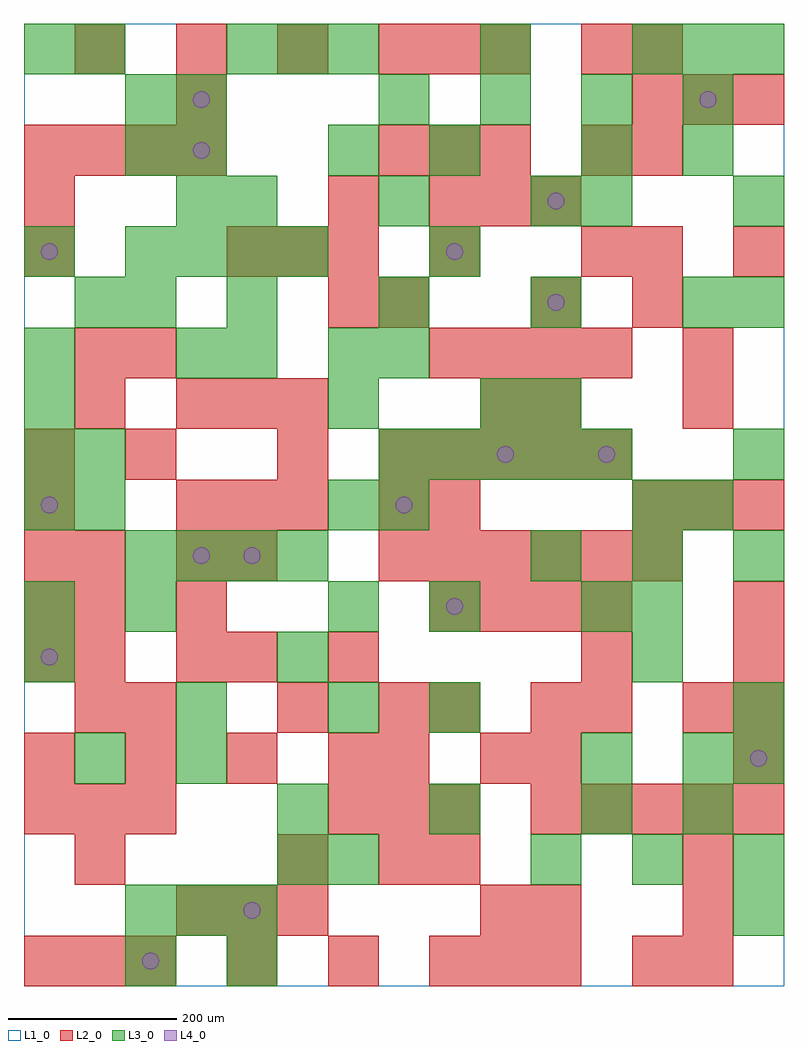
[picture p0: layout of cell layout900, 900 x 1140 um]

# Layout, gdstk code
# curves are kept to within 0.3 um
import gdstk
lib = gdstk.Library(unit=1e-6, precision=1e-09)
def R(c, l, rs):  # rectangles x0, y0, x1, y1
    for r in rs: c.add(gdstk.rectangle(r[:2], r[2:], *l))
def A(c, l, x, y, w, h, nx, ny, dx, dy):  # array of equal rectangles
    R(c, l, [(x+i*dx, y+j*dy, x+i*dx+w, y+j*dy+h) for i in range(nx) for j in range(ny)])
def P(c, l, *ps):  # polygons
    for p in ps: c.add(gdstk.Polygon(p, *l))
L1_0 = (1, 0)
L2_0 = (2, 0)
L3_0 = (3, 0)
L4_0 = (4, 0)

layout900 = lib.new_cell('layout900')
R(layout900, L1_0, [(0,0,900,1140)])
A(layout900, L2_0, 0, 0, 60, 60, 3, 2, 60, 180)
A(layout900, L2_0, 240, 0, 60, 60, 3, 1, 120, 0)
A(layout900, L2_0, 780, 0, 60, 60, 1, 3, 0, 60)
A(layout900, L2_0, 180, 60, 60, 60, 3, 2, 60, 480)
A(layout900, L2_0, 360, 180, 60, 60, 3, 1, 60, 0)
A(layout900, L2_0, 600, 180, 60, 60, 5, 1, 60, 0)
A(layout900, L2_0, 0, 240, 60, 60, 4, 1, 120, 0)
A(layout900, L2_0, 540, 240, 60, 60, 1, 3, 0, 420)
A(layout900, L2_0, 840, 240, 60, 60, 1, 4, 0, 60)
A(layout900, L2_0, 60, 300, 60, 60, 1, 4, 0, 60)
A(layout900, L2_0, 420, 300, 60, 60, 1, 3, 0, 240)
A(layout900, L2_0, 0, 360, 60, 60, 1, 5, 0, 60)
A(layout900, L2_0, 180, 360, 60, 60, 1, 3, 0, 60)
A(layout900, L2_0, 480, 420, 60, 60, 4, 2, 60, 300)
A(layout900, L2_0, 420, 480, 60, 60, 6, 1, 60, 0)
A(layout900, L2_0, 720, 540, 60, 60, 3, 2, 60, 480)
A(layout900, L2_0, 420, 600, 60, 60, 5, 1, 60, 0)
A(layout900, L2_0, 180, 660, 60, 60, 3, 1, 60, 0)
A(layout900, L2_0, 240, 840, 60, 60, 3, 1, 60, 0)
A(layout900, L2_0, 660, 840, 60, 60, 1, 3, 0, 120)
A(layout900, L2_0, 720, 840, 60, 60, 1, 3, 0, 120)
A(layout900, L2_0, 480, 900, 60, 60, 3, 1, 60, 0)
A(layout900, L2_0, 0, 960, 60, 60, 4, 1, 60, 0)
A(layout900, L2_0, 420, 960, 60, 60, 3, 1, 60, 0)
A(layout900, L2_0, 60, 1080, 60, 60, 4, 1, 120, 0)
R(layout900, L2_0, [(540,0,600,60), (600,0,660,60), (720,0,780,60), (540,60,600,120), (600,60,660,120), (60,120,120,180), (300,120,360,180), (420,120,480,180), (480,120,540,180), (420,240,480,300), (600,240,660,300), (120,300,180,360), (300,300,360,360), (480,300,540,360), (600,300,660,360), (660,300,720,360), (780,300,840,360), (240,360,300,420), (360,360,420,420), (660,360,720,420), (240,480,300,540), (480,540,540,600), (120,600,180,660), (300,600,360,660), (60,660,120,720), (600,660,660,720), (780,660,840,720), (60,720,120,780), (120,720,180,780), (780,720,840,780), (360,780,420,840), (600,780,660,840), (720,780,780,840), (0,840,60,900), (480,840,540,900), (840,840,900,900), (0,900,60,960), (360,900,420,960), (180,1020,240,1080), (480,1080,540,1140)])
A(layout900, L3_0, 120, 60, 60, 60, 3, 1, 60, 0)
A(layout900, L3_0, 600, 120, 60, 60, 3, 2, 120, 360)
A(layout900, L3_0, 300, 180, 60, 60, 3, 1, 180, 0)
A(layout900, L3_0, 360, 300, 60, 60, 1, 4, 0, 120)
A(layout900, L3_0, 120, 480, 60, 60, 4, 2, 60, 360)
A(layout900, L3_0, 0, 540, 60, 60, 1, 4, 0, 60)
A(layout900, L3_0, 420, 600, 60, 60, 5, 1, 60, 0)
A(layout900, L3_0, 240, 780, 60, 60, 4, 1, 180, 0)
A(layout900, L3_0, 180, 900, 60, 60, 1, 3, 0, 60)
A(layout900, L3_0, 240, 900, 60, 60, 3, 1, 180, 0)
A(layout900, L3_0, 420, 1020, 60, 60, 4, 1, 120, 0)
A(layout900, L3_0, 240, 1080, 60, 60, 3, 1, 60, 0)
A(layout900, L3_0, 720, 1080, 60, 60, 3, 1, 60, 0)
R(layout900, L3_0, [(120,0,180,60), (240,0,300,60), (840,60,900,120), (300,120,360,180), (360,120,420,180), (780,180,840,240), (60,240,120,300), (180,240,240,300), (660,240,720,300), (780,240,840,300), (840,240,900,300), (180,300,240,360), (480,300,540,360), (840,300,900,360), (0,360,60,420), (300,360,360,420), (720,360,780,420), (0,420,60,480), (120,420,180,480), (480,420,540,480), (660,420,720,480), (720,420,780,480), (60,540,120,600), (420,540,480,600), (720,540,780,600), (780,540,840,600), (60,600,120,660), (840,600,900,660), (540,660,600,720), (600,660,660,720), (180,720,240,780), (240,720,300,780), (360,720,420,780), (420,720,480,780), (60,780,120,840), (120,780,180,840), (840,780,900,840), (0,840,60,900), (480,840,540,900), (660,900,720,960), (840,900,900,960), (120,960,180,1020), (360,960,420,1020), (480,960,540,1020), (660,960,720,1020), (780,960,840,1020), (120,1020,180,1080), (0,1080,60,1140), (60,1080,120,1140), (540,1080,600,1140)])
P(layout900, L4_0, [(40,390),(39.239,393.827),(37.071,397.071),(33.827,399.239),(30,400),(26.173,399.239),(22.929,397.071),(20.761,393.827),(20,390),(20.761,386.173),(22.929,382.929),(26.173,380.761),(30,380),(33.827,380.761),(37.071,382.929),(39.239,386.173)],
  [(40,570),(39.239,573.827),(37.071,577.071),(33.827,579.239),(30,580),(26.173,579.239),(22.929,577.071),(20.761,573.827),(20,570),(20.761,566.173),(22.929,562.929),(26.173,560.761),(30,560),(33.827,560.761),(37.071,562.929),(39.239,566.173)],
  [(40,870),(39.239,873.827),(37.071,877.071),(33.827,879.239),(30,880),(26.173,879.239),(22.929,877.071),(20.761,873.827),(20,870),(20.761,866.173),(22.929,862.929),(26.173,860.761),(30,860),(33.827,860.761),(37.071,862.929),(39.239,866.173)],
  [(160,30),(159.239,33.827),(157.071,37.071),(153.827,39.239),(150,40),(146.173,39.239),(142.929,37.071),(140.761,33.827),(140,30),(140.761,26.173),(142.929,22.929),(146.173,20.761),(150,20),(153.827,20.761),(157.071,22.929),(159.239,26.173)],
  [(220,510),(219.239,513.827),(217.071,517.071),(213.827,519.239),(210,520),(206.173,519.239),(202.929,517.071),(200.761,513.827),(200,510),(200.761,506.173),(202.929,502.929),(206.173,500.761),(210,500),(213.827,500.761),(217.071,502.929),(219.239,506.173)],
  [(220,990),(219.239,993.827),(217.071,997.071),(213.827,999.239),(210,1000),(206.173,999.239),(202.929,997.071),(200.761,993.827),(200,990),(200.761,986.173),(202.929,982.929),(206.173,980.761),(210,980),(213.827,980.761),(217.071,982.929),(219.239,986.173)],
  [(220,1050),(219.239,1053.827),(217.071,1057.071),(213.827,1059.239),(210,1060),(206.173,1059.239),(202.929,1057.071),(200.761,1053.827),(200,1050),(200.761,1046.173),(202.929,1042.929),(206.173,1040.761),(210,1040),(213.827,1040.761),(217.071,1042.929),(219.239,1046.173)],
  [(280,90),(279.239,93.827),(277.071,97.071),(273.827,99.239),(270,100),(266.173,99.239),(262.929,97.071),(260.761,93.827),(260,90),(260.761,86.173),(262.929,82.929),(266.173,80.761),(270,80),(273.827,80.761),(277.071,82.929),(279.239,86.173)],
  [(280,510),(279.239,513.827),(277.071,517.071),(273.827,519.239),(270,520),(266.173,519.239),(262.929,517.071),(260.761,513.827),(260,510),(260.761,506.173),(262.929,502.929),(266.173,500.761),(270,500),(273.827,500.761),(277.071,502.929),(279.239,506.173)],
  [(460,570),(459.239,573.827),(457.071,577.071),(453.827,579.239),(450,580),(446.173,579.239),(442.929,577.071),(440.761,573.827),(440,570),(440.761,566.173),(442.929,562.929),(446.173,560.761),(450,560),(453.827,560.761),(457.071,562.929),(459.239,566.173)],
  [(520,450),(519.239,453.827),(517.071,457.071),(513.827,459.239),(510,460),(506.173,459.239),(502.929,457.071),(500.761,453.827),(500,450),(500.761,446.173),(502.929,442.929),(506.173,440.761),(510,440),(513.827,440.761),(517.071,442.929),(519.239,446.173)],
  [(520,870),(519.239,873.827),(517.071,877.071),(513.827,879.239),(510,880),(506.173,879.239),(502.929,877.071),(500.761,873.827),(500,870),(500.761,866.173),(502.929,862.929),(506.173,860.761),(510,860),(513.827,860.761),(517.071,862.929),(519.239,866.173)],
  [(580,630),(579.239,633.827),(577.071,637.071),(573.827,639.239),(570,640),(566.173,639.239),(562.929,637.071),(560.761,633.827),(560,630),(560.761,626.173),(562.929,622.929),(566.173,620.761),(570,620),(573.827,620.761),(577.071,622.929),(579.239,626.173)],
  [(640,810),(639.239,813.827),(637.071,817.071),(633.827,819.239),(630,820),(626.173,819.239),(622.929,817.071),(620.761,813.827),(620,810),(620.761,806.173),(622.929,802.929),(626.173,800.761),(630,800),(633.827,800.761),(637.071,802.929),(639.239,806.173)],
  [(640,930),(639.239,933.827),(637.071,937.071),(633.827,939.239),(630,940),(626.173,939.239),(622.929,937.071),(620.761,933.827),(620,930),(620.761,926.173),(622.929,922.929),(626.173,920.761),(630,920),(633.827,920.761),(637.071,922.929),(639.239,926.173)],
  [(700,630),(699.239,633.827),(697.071,637.071),(693.827,639.239),(690,640),(686.173,639.239),(682.929,637.071),(680.761,633.827),(680,630),(680.761,626.173),(682.929,622.929),(686.173,620.761),(690,620),(693.827,620.761),(697.071,622.929),(699.239,626.173)],
  [(820,1050),(819.239,1053.827),(817.071,1057.071),(813.827,1059.239),(810,1060),(806.173,1059.239),(802.929,1057.071),(800.761,1053.827),(800,1050),(800.761,1046.173),(802.929,1042.929),(806.173,1040.761),(810,1040),(813.827,1040.761),(817.071,1042.929),(819.239,1046.173)],
  [(880,270),(879.239,273.827),(877.071,277.071),(873.827,279.239),(870,280),(866.173,279.239),(862.929,277.071),(860.761,273.827),(860,270),(860.761,266.173),(862.929,262.929),(866.173,260.761),(870,260),(873.827,260.761),(877.071,262.929),(879.239,266.173)])

lib.write_gds('layout900.gds')
